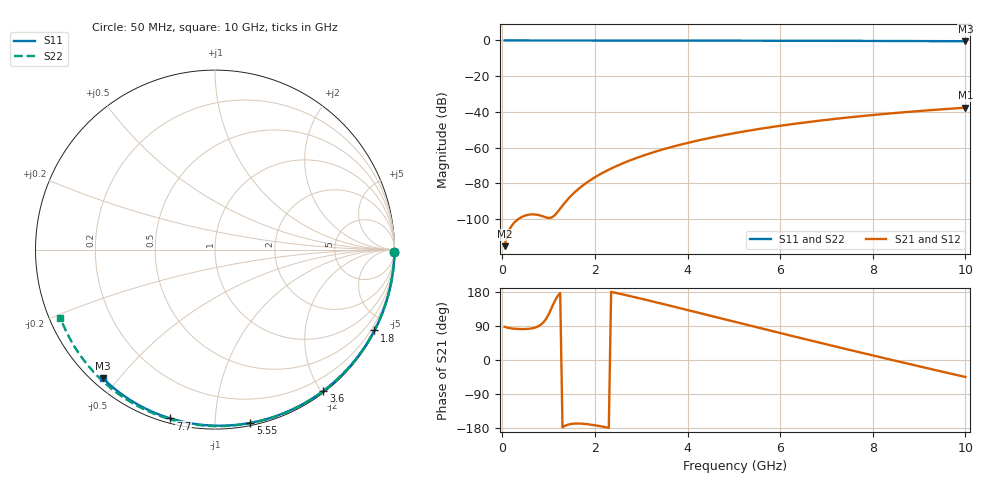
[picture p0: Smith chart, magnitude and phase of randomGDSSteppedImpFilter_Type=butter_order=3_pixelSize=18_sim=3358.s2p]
! freq	dB(S11)	phase(S11)	dB(S12)	phase(S12)
!  dB(S21)	phase(S21)	dB(S22)	phase(S22)
!S-par simulation data
#  GHz  S  DB  R 50
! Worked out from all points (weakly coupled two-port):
!   200 points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, 50 MHz to 10 GHz, reference 50 ohm
!   highest |S21| = -37.67 dB at 10 GHz (marker M1); lowest = -115.2 dB at 50 MHz (marker M2)
!   lowest |S11| = -0.4 dB at 10 GHz (marker M3), VSWR 39.29, Z = 1.53 - j22.7 ohm
!   |S11| at or under -10 dB: nowhere
!   |S22| runs from -0.5 to 0.0 dB; largest |S21 - S12| = 0
!   S11 on the Smith chart (normalised r, x): 50 MHz: open; 1.8 GHz: 0.04, -4.19; 3.6 GHz: 0.02, -2.03; 5.55 GHz: 0.02, -1.22; 7.7 GHz: 0.02, -0.77; 10 GHz: 0.03, -0.45
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0.05  -0.00 -0.8  -115.22 87.6  -115.22 87.6  -0.00 -0.9
0.45  -0.01 -6.8  -98.53 81.6  -98.53 81.6  -0.01 -8.1
0.9  -0.02 -13.6  -98.72 101.0  -98.72 101.0  -0.02 -16.2
1.3  -0.02 -19.5  -92.49 -177.7  -92.49 -177.7  -0.03 -23.3
1.75  -0.03 -26.1  -81.01 -168.3  -81.01 -168.3  -0.04 -31.2
1.8  -0.03 -26.9  -80.06 -168.9  -80.06 -168.9  -0.04 -32.0
2  -0.04 -29.8  -76.63 -172.2  -76.63 -172.2  -0.05 -35.5
2.15  -0.04 -32.0  -74.39 -175.5  -74.39 -175.5  -0.05 -38.1
2.5  -0.05 -37.0  -69.94 175.8  -69.94 175.8  -0.06 -44.1
2.9  -0.06 -42.7  -65.79 164.6  -65.79 164.6  -0.07 -50.8
3.4  -0.07 -49.8  -61.55 150.0  -61.55 150.0  -0.08 -59.1
3.6  -0.07 -52.5  -60.06 144.0  -60.06 144.0  -0.08 -62.4
4.3  -0.09 -62.1  -55.60 122.8  -55.60 122.8  -0.10 -73.6
5.05  -0.11 -72.0  -51.74 99.9  -51.74 99.9  -0.13 -85.2
5.55  -0.13 -78.5  -49.55 84.8  -49.55 84.8  -0.15 -92.8
6.1  -0.15 -85.4  -47.43 68.2  -47.43 68.2  -0.18 -100.9
6.7  -0.18 -92.8  -45.39 50.2  -45.39 50.2  -0.21 -109.6
7.2  -0.21 -98.9  -43.88 35.4  -43.88 35.4  -0.25 -116.8
7.7  -0.24 -104.8  -42.52 20.8  -42.52 20.8  -0.29 -123.8
8.35  -0.29 -112.4  -40.92 2.0  -40.92 2.0  -0.34 -132.9
9.2  -0.36 -122.1  -39.12 -22.3  -39.12 -22.3  -0.43 -144.8
10  -0.44 -131.1  -37.67 -44.8  -37.67 -44.8  -0.53 -156.2
